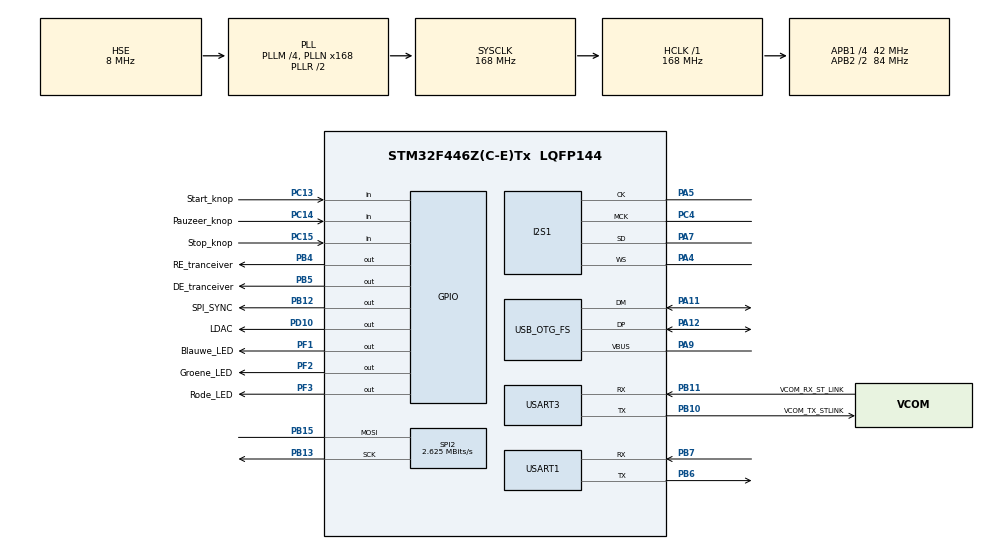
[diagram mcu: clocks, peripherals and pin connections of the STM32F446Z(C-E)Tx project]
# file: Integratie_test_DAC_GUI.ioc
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FREERTOS.Tasks01=defaultTask,24,512,StartDefaultTask,Default,NULL,Dynamic,NULL,NULL;KnopTASK,24,128,StartKnopThread,Default,NULL,Dynamic,NULL,NULL;LedTASK,24,128,StartLEDThread,Default,NULL,Dynamic,NULL,NULL;Dac_TASK,24,128,Simulate_DAC,Default,NULL,Dynamic,NULL,NULL
FREERTOS.configUSE_NEWLIB_REENTRANT=1
I2S1.ErrorAudioFreq=1.72 %
I2S1.FullDuplexMode=I2S_FULLDUPLEXMODE_DISABLE
I2S1.Instance=SPI$Index
I2S1.RealAudioFreq=8.138 KHz
I2S1.VirtualMode=I2S_MODE_MASTER
Mcu.Family=STM32F4
Mcu.Name=STM32F446Z(C-E)Tx
Mcu.Package=LQFP144
NVIC.OTG_FS_IRQn=true\:5\:0\:false\:false\:true\:true\:false\:true\:true
NVIC.PriorityGroup=NVIC_PRIORITYGROUP_4
NVIC.TIM2_IRQn=true\:5\:0\:false\:false\:true\:true\:true\:true\:true
PA11.Mode=Device_Only
PA11.Signal=USB_OTG_FS_DM
PA12.Mode=Device_Only
PA12.Signal=USB_OTG_FS_DP
PA13.Mode=Serial_Wire
PA13.Signal=SYS_JTMS-SWDIO
PA14.Mode=Serial_Wire
PA14.Signal=SYS_JTCK-SWCLK
PA4.Mode=Half_Duplex_Master
PA4.Signal=I2S1_WS
PA5.Mode=Half_Duplex_Master
PA5.Signal=I2S1_CK
PA7.Mode=Half_Duplex_Master
PA7.Signal=I2S1_SD
PA9.Mode=Activate_VBUS
PA9.Signal=USB_OTG_FS_VBUS
PB10.GPIO_Label=VCOM_TX_STLINK
PB10.Mode=Asynchronous
PB10.Signal=USART3_TX
PB11.GPIO_Label=VCOM_RX_ST_LINK
PB11.Mode=Asynchronous
PB11.Signal=USART3_RX
PB12.GPIO_Label=SPI_SYNC
PB12.Signal=GPIO_Output
PB13.Mode=Simplex_Bidirectional_Master
PB13.Signal=SPI2_SCK
PB15.Mode=Simplex_Bidirectional_Master
PB15.Signal=SPI2_MOSI
PB4.GPIO_Label=RE_tranceiver
PB4.Signal=GPIO_Output
PB5.GPIO_Label=DE_tranceiver
PB5.Signal=GPIO_Output
PB6.Mode=Asynchronous
PB6.Signal=USART1_TX
PB7.Mode=Asynchronous
PB7.Signal=USART1_RX
PC13.GPIO_Label=Start_knop
PC13.GPIO_PuPd=GPIO_PULLUP
PC13.Signal=GPIO_Input
PC14-OSC32_IN.GPIO_Label=Pauzeer_knop
PC14-OSC32_IN.GPIO_PuPd=GPIO_PULLUP
PC14-OSC32_IN.Signal=GPIO_Input
PC15-OSC32_OUT.GPIO_Label=Stop_knop
PC15-OSC32_OUT.GPIO_PuPd=GPIO_PULLUP
PC15-OSC32_OUT.Signal=GPIO_Input
PC4.Mode=Master_Clock_Activated
PC4.Signal=I2S1_MCK
PD10.GPIO_Label=LDAC
PD10.Signal=GPIO_Output
PF1.GPIO_Label=Blauwe_LED
PF1.Signal=GPIO_Output
PF2.GPIO_Label=Groene_LED
PF2.Signal=GPIO_Output
PF3.GPIO_Label=Rode_LED
PF3.Signal=GPIO_Output
PH0-OSC_IN.Mode=HSE-External-Oscillator
PH0-OSC_IN.Signal=RCC_OSC_IN
PH1-OSC_OUT.Mode=HSE-External-Oscillator
PH1-OSC_OUT.Signal=RCC_OSC_OUT
ProjectManager.HeapSize=0x200
ProjectManager.StackSize=0x400
ProjectManager.TargetToolchain=STM32CubeIDE
RCC.AHBFreq_Value=168000000
RCC.APB1CLKDivider=RCC_HCLK_DIV4
RCC.APB1Freq_Value=42000000
RCC.APB1TimFreq_Value=84000000
RCC.APB2CLKDivider=RCC_HCLK_DIV2
RCC.APB2Freq_Value=84000000
RCC.APB2TimFreq_Value=168000000
RCC.CortexFreq_Value=168000000
RCC.HCLKFreq_Value=168000000
RCC.HSE_VALUE=8000000
RCC.PLLI2SM=4
RCC.PLLI2SN=50
RCC.PLLM=4
RCC.PLLN=168
RCC.PLLQ=7
RCC.SYSCLKFreq_VALUE=168000000
RCC.SYSCLKSource=RCC_SYSCLKSOURCE_PLLRCLK
RCC.USBFreq_Value=48000000
RCC.VCOOutputFreq_Value=336000000
SPI2.BaudRatePrescaler=SPI_BAUDRATEPRESCALER_16
SPI2.CLKPolarity=SPI_POLARITY_HIGH
SPI2.CalculateBaudRate=2.625 MBits/s
SPI2.Direction=SPI_DIRECTION_1LINE
SPI2.Mode=SPI_MODE_MASTER
SPI2.VirtualType=VM_MASTER
TIM2.Period=1749
USART1.VirtualMode=VM_ASYNC
USART3.VirtualMode=VM_ASYNC
USB_DEVICE.CLASS_NAME_FS=CDC
USB_DEVICE.PRODUCT_STRING_CDC_FS=YOUNES STM32
USB_DEVICE.VirtualMode-CDC_FS=Cdc
USB_DEVICE.VirtualModeFS=Cdc_FS
USB_OTG_FS.VirtualMode=Device_Only
VP_FREERTOS_VS_CMSIS_V2.Mode=CMSIS_V2
VP_TIM2_VS_ClockSourceINT.Mode=Internal
VP_USB_DEVICE_VS_USB_DEVICE_CDC_FS.Mode=CDC_FS
board=custom

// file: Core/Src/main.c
/* USER CODE BEGIN Header */
/**
  ******************************************************************************
  * @file           : main.c
  * @brief          : Main program body
  ******************************************************************************
  * @attention
  *
  * Copyright (c) 2024 STMicroelectronics.
  * All rights reserved.
  *
  * This software is licensed under terms that can be found in the LICENSE file
  * in the root directory of this software component.
  * If no LICENSE file comes with this software, it is provided AS-IS.
  *
  ******************************************************************************
  */
/* USER CODE END Header */
#include "main.h"
#include "cmsis_os.h"
#include "usb_device.h"

/* USER CODE BEGIN Includes */
#include <math.h>
#include <stdint.h>
#include <stdlib.h>
#include <stdio.h>
#include <stdbool.h>
#include <string.h>
#include "stm32f4xx_hal.h"
/* USER CODE END Includes */

/* USER CODE BEGIN PTD */
typedef enum {
	STATUS_IDLE,
    STATUS_WACHTEN_OP_INSTELLINGEN,
    STATUS_GEREED,
    STATUS_TEST_GESTART,
    STATUS_TEST_GEPAUZEERD,
	STATUS_TEST_GESTOPT,
    STATUS_TEST_VOLTOOID
} TestStatus;
/* USER CODE END PTD */

/* USER CODE BEGIN PD */

#define SPI_TIMEOUT 1000
#define DAC8564_SEQUENTIANALY_WRITE_UPDATE 0x10  // Command to write and update DAC
#define VREF 2.5  // Reference voltage

#define OFFSET (VREF / 2)  // Midpoint offset for unipolar output
#define PI 3.14159265
#define SAMPLE_RATE 48000  // Sample rate in Hz
#define FREQUENCY 50  // Frequency of the sine wave in Hz
#define NUM_SAMPLES (SAMPLE_RATE / FREQUENCY)  // Number of samples in one cycle
#define DAC_REFERENCE_ALWAYS_POWERED_UP    0x11000

#define PHASE_SHIFT_120_DEG (2.0 * PI / 3.0)  // 120-degree phase shift
#define PHASE_SHIFT_240_DEG (4.0 * PI / 3.0)

#define BLAUWE_LED_PIN GPIO_PIN_1
#define BLAUWE_LED_PORT GPIOF

#define GROENE_LED_PIN GPIO_PIN_2
#define GROENE_LED_PORT GPIOF

#define RODE_LED_PIN GPIO_PIN_3
#define RODE_LED_PORT GPIOF

#define START_KNOP_PIN GPIO_PIN_13
#define START_KNOP_PORT GPIOC

#define PAUZEER_KNOP_PIN GPIO_PIN_14
#define PAUZEER_KNOP_PORT GPIOC

#define STOP_KNOP_PIN GPIO_PIN_15
#define STOP_KNOP_PORT GPIOC

#define GPIO_PORT_VBUS GPIOA   // De GPIO-poort voor VBUS (bijv. GPIOA)
#define GPIO_PIN_VBUS  GPIO_PIN_9   // De specifieke pin (bijv. pin 9 op GPIOA)

#define BUFFER_SIZE 1024   // Vergroot de buffer naar 512 karakters
#define WAITING_FOR_SETTINGS "WACHT_OP_INSTELLINGEN"
#define READY_STATUS "GEREED"
#define TEST_RUNNING "BEZIG_MET_TEST"
#define TEST_PAUSED "GEPAUZEERD"
#define TEST_COMPLETED "VOLTOOID"
#define TEST_STOPPED "GESTOPT"
/* USER CODE END PD */

I2S_HandleTypeDef hi2s1;

SPI_HandleTypeDef hspi2;

TIM_HandleTypeDef htim2;

UART_HandleTypeDef huart1;
UART_HandleTypeDef huart3;

/* Definitions for defaultTask */
osThreadId_t defaultTaskHandle;
const osThreadAttr_t defaultTask_attributes = {
  .name = "defaultTask",
  .stack_size = 512 * 4,
  .priority = (osPriority_t) osPriorityNormal,
};
/* Definitions for KnopTASK */
osThreadId_t KnopTASKHandle;
const osThreadAttr_t KnopTASK_attributes = {
  .name = "KnopTASK",
  .stack_size = 128 * 4,
  .priority = (osPriority_t) osPriorityNormal,
};
/* Definitions for LedTASK */
osThreadId_t LedTASKHandle;
const osThreadAttr_t LedTASK_attributes = {
  .name = "LedTASK",
  .stack_size = 128 * 4,
  .priority = (osPriority_t) osPriorityNormal,
};
/* Definitions for Dac_TASK */
osThreadId_t Dac_TASKHandle;
const osThreadAttr_t Dac_TASK_attributes = {
  .name = "Dac_TASK",
  .stack_size = 128 * 4,
  .priority = (osPriority_t) osPriorityNormal,
};
/* USER CODE BEGIN PV */
char receivedData[BUFFER_SIZE];  // Buffer to store received data
uint32_t receivedLength = 0;  // Houd de lengte van de ontvangen data bij
float stroom_s1, stroom_s2, stroom_s3;

float AMPLITUDE;

float HARMONIC_3, HARMONIC_5, HARMONIC_7, HARMONIC_9, HARMONIC_11, HARMONIC_13;

uint16_t sine_wave_A[NUM_SAMPLES];
uint16_t sine_wave_B[NUM_SAMPLES];
uint16_t sine_wave_C[NUM_SAMPLES];
volatile uint16_t sample_index = 0;

float stroom_s1 = 0.0;
float stroom_s2 = 0.0;
float stroom_s3 = 0.0;

// Globale variabelen voor THD scenario's
float thd_s1_rms = 0.0, thd_s2_rms = 0.0, thd_s3_rms = 0.0;
int thd_s1_3h, thd_s1_5h, thd_s1_7h, thd_s1_9h, thd_s1_11h, thd_s1_13h;
int thd_s2_3h, thd_s2_5h, thd_s2_7h, thd_s2_9h, thd_s2_11h, thd_s2_13h;
int thd_s3_3h, thd_s3_5h, thd_s3_7h, thd_s3_9h, thd_s3_11h, thd_s3_13h;

TestStatus huidig_status = STATUS_IDLE;
volatile bool usb_busy = false;  // Vlag om aan te geven of USB-communicatie bezig i

/* USER CODE END PV */

void SystemClock_Config(void);
static void MX_GPIO_Init(void);
static void MX_USART1_UART_Init(void);
static void MX_USART3_UART_Init(void);
static void MX_TIM2_Init(void);
static void MX_I2S1_Init(void);
static void MX_SPI2_Init(void);
void StartDefaultTask(void *argument);
void StartKnopThread(void *argument);
void StartLEDThread(void *argument);
void Simulate_DAC(void *argument);

/* USER CODE BEGIN 0 */

/*  Functies DAC */
/* DAC CODE BEGIN*/
void calculate_three_phase_sine_wave_samples() {
    for (int i = 0; i < NUM_SAMPLES; i++) {
    	double t = (double)i / SAMPLE_RATE;

    	        // Phase A with harmonic distortion
    	        double sample_A = AMPLITUDE * sin(2 * PI * FREQUENCY * t);
    	        sample_A += HARMONIC_3 * AMPLITUDE * sin(2 * PI * 3 * FREQUENCY * t);
    	        sample_A += HARMONIC_5 * AMPLITUDE * sin(2 * PI * 5 * FREQUENCY * t);
    	        sample_A += HARMONIC_7 * AMPLITUDE * sin(2 * PI * 7 * FREQUENCY * t);
    	        sample_A += HARMONIC_9 * AMPLITUDE * sin(2 * PI * 9 * FREQUENCY * t);
    	        sample_A += HARMONIC_11 * AMPLITUDE * sin(2 * PI * 11 * FREQUENCY * t);
    	        sample_A += HARMONIC_13 * AMPLITUDE * sin(2 * PI * 13 * FREQUENCY * t);
    	        sine_wave_A[i] = (uint16_t)((65536 / (2 * VREF)) * (sample_A + OFFSET));

    	        // Phase B with harmonic distortion (120 degrees shifted)
    	        double sample_B = AMPLITUDE * sin(2 * PI * FREQUENCY * t + PHASE_SHIFT_120_DEG);
    	        sample_B += HARMONIC_3 * AMPLITUDE * sin(2 * PI * 3 * FREQUENCY * t + PHASE_SHIFT_120_DEG);
    	        sample_B += HARMONIC_5 * AMPLITUDE * sin(2 * PI * 5 * FREQUENCY * t + PHASE_SHIFT_120_DEG);
    	        sample_B += HARMONIC_7 * AMPLITUDE * sin(2 * PI * 7 * FREQUENCY * t + PHASE_SHIFT_120_DEG);
    	        sample_B += HARMONIC_9 * AMPLITUDE * sin(2 * PI * 9 * FREQUENCY * t + PHASE_SHIFT_120_DEG);
    	        sample_B += HARMONIC_11 * AMPLITUDE * sin(2 * PI * 11 * FREQUENCY * t + PHASE_SHIFT_120_DEG);
    	        sample_B += HARMONIC_13 * AMPLITUDE * sin(2 * PI * 13 * FREQUENCY * t + PHASE_SHIFT_120_DEG);
    	        sine_wave_B[i] = (uint16_t)((65536 / (2 * VREF)) * (sample_B + OFFSET));

    	        // Phase C with harmonic distortion (240 degrees shifted)
    	        double sample_C = AMPLITUDE * sin(2 * PI * FREQUENCY * t + PHASE_SHIFT_240_DEG);
    	        sample_C += HARMONIC_3 * AMPLITUDE * sin(2 * PI * 3 * FREQUENCY * t + PHASE_SHIFT_240_DEG);
    	        sample_C += HARMONIC_5 * AMPLITUDE * sin(2 * PI * 5 * FREQUENCY * t + PHASE_SHIFT_240_DEG);
    	        sample_C += HARMONIC_7 * AMPLITUDE * sin(2 * PI * 7 * FREQUENCY * t + PHASE_SHIFT_240_DEG);
    	        sample_C += HARMONIC_9 * AMPLITUDE * sin(2 * PI * 9 * FREQUENCY * t + PHASE_SHIFT_240_DEG);
    	        sample_C += HARMONIC_11 * AMPLITUDE * sin(2 * PI * 11 * FREQUENCY * t + PHASE_SHIFT_240_DEG);
    	        sample_C += HARMONIC_13 * AMPLITUDE * sin(2 * PI * 13 * FREQUENCY * t + PHASE_SHIFT_240_DEG);
    	        sine_wave_C[i] = (uint16_t)((65536 / (2 * VREF)) * (sample_C + OFFSET));
    }
}

void select_test_scenario(int scenario_number) {
    switch (scenario_number) {
        case 1:  // Stroom scenario 1
            AMPLITUDE = stroom_s1 / 10000;  // Stroom gedeeld door 10.000
            HARMONIC_3 = 0; HARMONIC_5 = 0; HARMONIC_7 = 0; HARMONIC_9 = 0;
            HARMONIC_11 = 0; HARMONIC_13 = 0;
            break;
        case 2:  // Stroom scenario 2
            AMPLITUDE = stroom_s2 / 10000;
            HARMONIC_3 = 0; HARMONIC_5 = 0; HARMONIC_7 = 0; HARMONIC_9 = 0;
            HARMONIC_11 = 0; HARMONIC_13 = 0;
            break;
        case 3:  // Stroom scenario 3
            AMPLITUDE = stroom_s3 / 10000;
            HARMONIC_3 = 0; HARMONIC_5 = 0; HARMONIC_7 = 0; HARMONIC_9 = 0;
            HARMONIC_11 = 0; HARMONIC_13 = 0;
            break;
        case 4:  // THD scenario 1
            AMPLITUDE = thd_s1_rms / 10000;  // Grondharmonische amplitude
            HARMONIC_3 = thd_s1_3h / 100.0;  // Percentages omzetten naar amplitudes
            HARMONIC_5 = thd_s1_5h / 100.0;
            HARMONIC_7 = thd_s1_7h / 100.0;
            HARMONIC_9 = thd_s1_9h / 100.0;
            HARMONIC_11 = thd_s1_11h / 100.0;
            HARMONIC_13 = thd_s1_13h / 100.0;
            break;
        case 5:  // THD scenario 2
            AMPLITUDE = thd_s2_rms / 10000;
            HARMONIC_3 = thd_s2_3h / 100.0;
            HARMONIC_5 = thd_s2_5h / 100.0;
            HARMONIC_7 = thd_s2_7h / 100.0;
            HARMONIC_9 = thd_s2_9h / 100.0;
            HARMONIC_11 = thd_s2_11h / 100.0;
            HARMONIC_13 = thd_s2_13h / 100.0;
            break;
        case 6:  // THD scenario 3
            AMPLITUDE = thd_s3_rms / 10000;
            HARMONIC_3 = thd_s3_3h / 100.0;
            HARMONIC_5 = thd_s3_5h / 100.0;
            HARMONIC_7 = thd_s3_7h / 100.0;
            HARMONIC_9 = thd_s3_9h / 100.0;
            HARMONIC_11 = thd_s3_11h / 100.0;
            HARMONIC_13 = thd_s3_13h / 100.0;
            break;
    }
    calculate_three_phase_sine_wave_samples();
}

void DAC8564_Write(uint16_t channel, uint16_t value) {
    uint8_t data[3];
    data[0] = DAC8564_SEQUENTIANALY_WRITE_UPDATE | (channel << 1);  // Set command and channel
    data[1] = (value >> 8) & 0xFF;  // MSB
    data[2] = value & 0xFF;  // LSB

    HAL_GPIO_WritePin(GPIOB, SPI_SYNC_Pin, GPIO_PIN_RESET);  // CS Low
    HAL_SPI_Transmit(&hspi2, data, 3, SPI_TIMEOUT);
    HAL_GPIO_WritePin(GPIOB, SPI_SYNC_Pin, GPIO_PIN_SET);  // CS High
}

void HAL_TIM_PeriodElapsedCallback(TIM_HandleTypeDef *htim) {
    if (htim->Instance == TIM2) {
        // Output the current sample for each phase to respective DAC channels
        DAC8564_Write(0, sine_wave_A[sample_index]);  // Phase A on DAC A
        DAC8564_Write(1, sine_wave_B[sample_index]);  // Phase B on DAC B
        DAC8564_Write(2, sine_wave_C[sample_index]);  // Phase C on DAC C

        // Increment the sample index
        sample_index = (sample_index + 1) % NUM_SAMPLES;
    }
}

void SET_refference() {
    uint8_t data[3];
    data[0] = 0x01;
    data[1] = 0x10;
    data[2] = 0x00;

    HAL_GPIO_WritePin(GPIOB, SPI_SYNC_Pin, GPIO_PIN_RESET);
    HAL_SPI_Transmit(&hspi2, data, 3, SPI_TIMEOUT);
    HAL_GPIO_WritePin(GPIOB, SPI_SYNC_Pin, GPIO_PIN_SET);
}

/* DAC CODE END*/

/*  Functies voor user interface */
/* Userinterface CODE BEGIN*/
void zet_blauw_licht_aan() {
    HAL_GPIO_WritePin(BLAUWE_LED_PORT, BLAUWE_LED_PIN, GPIO_PIN_SET);
    HAL_GPIO_WritePin(GROENE_LED_PORT, GROENE_LED_PIN, GPIO_PIN_RESET);
    HAL_GPIO_WritePin(RODE_LED_PORT, RODE_LED_PIN, GPIO_PIN_RESET);
}

void zet_groen_licht_aan() {
    HAL_GPIO_WritePin(BLAUWE_LED_PORT, BLAUWE_LED_PIN, GPIO_PIN_RESET);
    HAL_GPIO_WritePin(GROENE_LED_PORT, GROENE_LED_PIN, GPIO_PIN_SET);
    HAL_GPIO_WritePin(RODE_LED_PORT, RODE_LED_PIN, GPIO_PIN_RESET);
}

void zet_rood_licht_aan() {
    HAL_GPIO_WritePin(BLAUWE_LED_PORT, BLAUWE_LED_PIN, GPIO_PIN_RESET);
    HAL_GPIO_WritePin(GROENE_LED_PORT, GROENE_LED_PIN, GPIO_PIN_RESET);
    HAL_GPIO_WritePin(RODE_LED_PORT, RODE_LED_PIN, GPIO_PIN_SET);
}

void groen_knipperend() {
	HAL_GPIO_WritePin(BLAUWE_LED_PORT, BLAUWE_LED_PIN, GPIO_PIN_RESET);
	HAL_GPIO_WritePin(RODE_LED_PORT, RODE_LED_PIN, GPIO_PIN_RESET);
	HAL_GPIO_TogglePin(GROENE_LED_PORT, GROENE_LED_PIN);

}

void blauw_knipperend() {
    HAL_GPIO_WritePin(GROENE_LED_PORT, GROENE_LED_PIN, GPIO_PIN_RESET);
    HAL_GPIO_WritePin(RODE_LED_PORT, RODE_LED_PIN, GPIO_PIN_RESET);
    HAL_GPIO_TogglePin(BLAUWE_LED_PORT, BLAUWE_LED_PIN);
}

void update_status(TestStatus nieuwe_status) {
    huidig_status = nieuwe_status;
}

/* Userinterface CODE END*/

/* USB_GUI_ CODE BEGIN*/
void send_active_scenario_to_gui(int scenario_number) {
    char scenario_message[64];
    sprintf(scenario_message, "ACTIEF_SCENARIO=%d\n", scenario_number);
    send_status_to_gui(scenario_message);  // Verstuur het scenario

}

void send_status_to_gui(char* status_message) {
    CDC_Transmit_FS((uint8_t *)status_message, strlen(status_message));
}

// Functie om te checken of de knoppen voor starten, pauzeren of stoppen zijn ingedrukt

// Simuleer de ontvangst van instellingen en stuur statusupdates naar de GUI
void receive_settings_and_update_status(void) {
    // Wachten op instellingen
	update_status (STATUS_WACHTEN_OP_INSTELLINGEN);

}

// Functie om de volledige testprocedure te beheren

void CheckReceivedData(void)
{
  // Simuleer het ontvangen van data (normaliter via USB/UART)
  if (receivedLength > 0) {
    parse_received_data(receivedData);  // Verwerk de ontvangen gegevens
    memset(receivedData, 0, BUFFER_SIZE);  // Clear de buffer na verwerking
    receivedLength = 0;
  }
}

// Functie om de ontvangen data te parsen
void parse_received_data(char* data)
{
    // Verwacht dataformaat: "STROOM_S1=100.000;STROOM_S2=200.000;THD_S1_RMS=50.000;..."
    // Verwacht dataformaat:
    // "STROOM_S1=100.000;STROOM_S2=200.000;STROOM_S3=300.000;THD_S1_RMS=50.000;THD_S1_3H=15;...THD_S3_13H=10;"

    sscanf(data,
           "STROOM_S1=%f;STROOM_S2=%f;STROOM_S3=%f;THD_S1_RMS=%f;THD_S1_3H=%d;THD_S1_5H=%d;"
           "THD_S1_7H=%d;THD_S1_9H=%d;THD_S1_11H=%d;THD_S1_13H=%d;"
           "THD_S2_RMS=%f;THD_S2_3H=%d;THD_S2_5H=%d;THD_S2_7H=%d;THD_S2_9H=%d;THD_S2_11H=%d;THD_S2_13H=%d;"
           "THD_S3_RMS=%f;THD_S3_3H=%d;THD_S3_5H=%d;THD_S3_7H=%d;THD_S3_9H=%d;THD_S3_11H=%d;THD_S3_13H=%d;",
           &stroom_s1, &stroom_s2, &stroom_s3,
           &thd_s1_rms, &thd_s1_3h, &thd_s1_5h, &thd_s1_7h, &thd_s1_9h, &thd_s1_11h, &thd_s1_13h,
           &thd_s2_rms, &thd_s2_3h, &thd_s2_5h, &thd_s2_7h, &thd_s2_9h, &thd_s2_11h, &thd_s2_13h,
           &thd_s3_rms, &thd_s3_3h, &thd_s3_5h, &thd_s3_7h, &thd_s3_9h, &thd_s3_11h, &thd_s3_13h);

    update_status(STATUS_GEREED);

}
/* USB_GUI_ CODE END*/
/* USER CODE END 0 */

int main(void)
{

  /* MCU Configuration--------------------------------------------------------*/

  /* Reset of all peripherals, Initializes the Flash interface and the Systick. */
  HAL_Init();

  /* Configure the system clock */
  SystemClock_Config();

  /* Initialize all configured peripherals */
  MX_GPIO_Init();
  MX_USART1_UART_Init();
  MX_USART3_UART_Init();
  MX_TIM2_Init();
  MX_I2S1_Init();
  MX_SPI2_Init();
  MX_USB_DEVICE_Init();
  /* USER CODE BEGIN 2 */

  while (!(HAL_GPIO_ReadPin(GPIO_PORT_VBUS, GPIO_PIN_VBUS) == GPIO_PIN_SET));
  receive_settings_and_update_status();
  HAL_Delay (3000);

  /* USER CODE END 2 */

  /* Init scheduler */
  osKernelInitialize();

  /* Create the thread(s) */
  /* creation of defaultTask */
  defaultTaskHandle = osThreadNew(StartDefaultTask, NULL, &defaultTask_attributes);

  /* creation of KnopTASK */
  KnopTASKHandle = osThreadNew(StartKnopThread, NULL, &KnopTASK_attributes);

  /* creation of LedTASK */
  LedTASKHandle = osThreadNew(StartLEDThread, NULL, &LedTASK_attributes);

  /* creation of Dac_TASK */
  Dac_TASKHandle = osThreadNew(Simulate_DAC, NULL, &Dac_TASK_attributes);

  /* Start scheduler */
  osKernelStart();
  /* We should never get here as control is now taken by the scheduler */
  /* Infinite loop */
  while (1)
  {

  }
}

void SystemClock_Config(void)
{
  RCC_OscInitTypeDef RCC_OscInitStruct = {0};
  RCC_ClkInitTypeDef RCC_ClkInitStruct = {0};

  /** Configure the main internal regulator output voltage
  */
  __HAL_RCC_PWR_CLK_ENABLE();
  __HAL_PWR_VOLTAGESCALING_CONFIG(PWR_REGULATOR_VOLTAGE_SCALE1);

  /** Initializes the RCC Oscillators according to the specified parameters
  * in the RCC_OscInitTypeDef structure.
  */
  RCC_OscInitStruct.OscillatorType = RCC_OSCILLATORTYPE_HSE;
  RCC_OscInitStruct.HSEState = RCC_HSE_ON;
  RCC_OscInitStruct.PLL.PLLState = RCC_PLL_ON;
  RCC_OscInitStruct.PLL.PLLSource = RCC_PLLSOURCE_HSE;
  RCC_OscInitStruct.PLL.PLLM = 4;
  RCC_OscInitStruct.PLL.PLLN = 168;
  RCC_OscInitStruct.PLL.PLLP = RCC_PLLP_DIV2;
  RCC_OscInitStruct.PLL.PLLQ = 7;
  RCC_OscInitStruct.PLL.PLLR = 2;
  if (HAL_RCC_OscConfig(&RCC_OscInitStruct) != HAL_OK)
  {
    Error_Handler();
  }

  /** Initializes the CPU, AHB and APB buses clocks
  */
  RCC_ClkInitStruct.ClockType = RCC_CLOCKTYPE_HCLK|RCC_CLOCKTYPE_SYSCLK
                              |RCC_CLOCKTYPE_PCLK1|RCC_CLOCKTYPE_PCLK2;
  RCC_ClkInitStruct.SYSCLKSource = RCC_SYSCLKSOURCE_PLLRCLK;
  RCC_ClkInitStruct.AHBCLKDivider = RCC_SYSCLK_DIV1;
  RCC_ClkInitStruct.APB1CLKDivider = RCC_HCLK_DIV4;
  RCC_ClkInitStruct.APB2CLKDivider = RCC_HCLK_DIV2;

  if (HAL_RCC_ClockConfig(&RCC_ClkInitStruct, FLASH_LATENCY_5) != HAL_OK)
  {
    Error_Handler();
  }
}

static void MX_I2S1_Init(void)
{

  hi2s1.Instance = SPI1;
  hi2s1.Init.Mode = I2S_MODE_MASTER_TX;
  hi2s1.Init.Standard = I2S_STANDARD_PHILIPS;
  hi2s1.Init.DataFormat = I2S_DATAFORMAT_16B;
  hi2s1.Init.MCLKOutput = I2S_MCLKOUTPUT_ENABLE;
  hi2s1.Init.AudioFreq = I2S_AUDIOFREQ_8K;
  hi2s1.Init.CPOL = I2S_CPOL_LOW;
  hi2s1.Init.ClockSource = I2S_CLOCK_PLL;
  hi2s1.Init.FullDuplexMode = I2S_FULLDUPLEXMODE_DISABLE;
  if (HAL_I2S_Init(&hi2s1) != HAL_OK)
  {
    Error_Handler();
  }

}

static void MX_SPI2_Init(void)
{

  /* SPI2 parameter configuration*/
  hspi2.Instance = SPI2;
  hspi2.Init.Mode = SPI_MODE_MASTER;
  hspi2.Init.Direction = SPI_DIRECTION_1LINE;
  hspi2.Init.DataSize = SPI_DATASIZE_8BIT;
  hspi2.Init.CLKPolarity = SPI_POLARITY_HIGH;
  hspi2.Init.CLKPhase = SPI_PHASE_1EDGE;
  hspi2.Init.NSS = SPI_NSS_SOFT;
  hspi2.Init.BaudRatePrescaler = SPI_BAUDRATEPRESCALER_16;
  hspi2.Init.FirstBit = SPI_FIRSTBIT_MSB;
  hspi2.Init.TIMode = SPI_TIMODE_DISABLE;
  hspi2.Init.CRCCalculation = SPI_CRCCALCULATION_DISABLE;
  hspi2.Init.CRCPolynomial = 10;
  if (HAL_SPI_Init(&hspi2) != HAL_OK)
  {
    Error_Handler();
  }

}

static void MX_TIM2_Init(void)
{

  TIM_ClockConfigTypeDef sClockSourceConfig = {0};
  TIM_MasterConfigTypeDef sMasterConfig = {0};

  htim2.Instance = TIM2;
  htim2.Init.Prescaler = 0;
  htim2.Init.CounterMode = TIM_COUNTERMODE_UP;
  htim2.Init.Period = 1749;
  htim2.Init.ClockDivision = TIM_CLOCKDIVISION_DIV1;
  htim2.Init.AutoReloadPreload = TIM_AUTORELOAD_PRELOAD_DISABLE;
  if (HAL_TIM_Base_Init(&htim2) != HAL_OK)
  {
    Error_Handler();
  }
  sClockSourceConfig.ClockSource = TIM_CLOCKSOURCE_INTERNAL;
  if (HAL_TIM_ConfigClockSource(&htim2, &sClockSourceConfig) != HAL_OK)
  {
    Error_Handler();
  }
  sMasterConfig.MasterOutputTrigger = TIM_TRGO_RESET;
  sMasterConfig.MasterSlaveMode = TIM_MASTERSLAVEMODE_DISABLE;
  if (HAL_TIMEx_MasterConfigSynchronization(&htim2, &sMasterConfig) != HAL_OK)
  {
    Error_Handler();
  }

}

static void MX_USART1_UART_Init(void)
{

  huart1.Instance = USART1;
  huart1.Init.BaudRate = 115200;
  huart1.Init.WordLength = UART_WORDLENGTH_8B;
  huart1.Init.StopBits = UART_STOPBITS_1;
  huart1.Init.Parity = UART_PARITY_NONE;
  huart1.Init.Mode = UART_MODE_TX_RX;
  huart1.Init.HwFlowCtl = UART_HWCONTROL_NONE;
  huart1.Init.OverSampling = UART_OVERSAMPLING_16;
  if (HAL_UART_Init(&huart1) != HAL_OK)
  {
    Error_Handler();
  }

}

static void MX_USART3_UART_Init(void)
{

  huart3.Instance = USART3;
  huart3.Init.BaudRate = 115200;
  huart3.Init.WordLength = UART_WORDLENGTH_8B;
  huart3.Init.StopBits = UART_STOPBITS_1;
  huart3.Init.Parity = UART_PARITY_NONE;
  huart3.Init.Mode = UART_MODE_TX_RX;
  huart3.Init.HwFlowCtl = UART_HWCONTROL_NONE;
  huart3.Init.OverSampling = UART_OVERSAMPLING_16;
  if (HAL_UART_Init(&huart3) != HAL_OK)
  {
    Error_Handler();
  }

}

static void MX_GPIO_Init(void)
{
  GPIO_InitTypeDef GPIO_InitStruct = {0};

  /* GPIO Ports Clock Enable */
  __HAL_RCC_GPIOC_CLK_ENABLE();
  __HAL_RCC_GPIOF_CLK_ENABLE();
  __HAL_RCC_GPIOH_CLK_ENABLE();
  __HAL_RCC_GPIOA_CLK_ENABLE();
  __HAL_RCC_GPIOB_CLK_ENABLE();
  __HAL_RCC_GPIOD_CLK_ENABLE();

  /*Configure GPIO pin Output Level */
  HAL_GPIO_WritePin(GPIOF, Blauwe_LED_Pin|Groene_LED_Pin|Rode_LED_Pin, GPIO_PIN_RESET);

  /*Configure GPIO pin Output Level */
  HAL_GPIO_WritePin(GPIOB, SPI_SYNC_Pin|RE_tranceiver_Pin|DE_tranceiver_Pin, GPIO_PIN_RESET);

  /*Configure GPIO pin Output Level */
  HAL_GPIO_WritePin(LDAC_GPIO_Port, LDAC_Pin, GPIO_PIN_RESET);

  /*Configure GPIO pins : Start_knop_Pin Pauzeer_knop_Pin Stop_knop_Pin */
  GPIO_InitStruct.Pin = Start_knop_Pin|Pauzeer_knop_Pin|Stop_knop_Pin;
  GPIO_InitStruct.Mode = GPIO_MODE_INPUT;
  GPIO_InitStruct.Pull = GPIO_PULLUP;
  HAL_GPIO_Init(GPIOC, &GPIO_InitStruct);

  /*Configure GPIO pins : Blauwe_LED_Pin Groene_LED_Pin Rode_LED_Pin */
  GPIO_InitStruct.Pin = Blauwe_LED_Pin|Groene_LED_Pin|Rode_LED_Pin;
  GPIO_InitStruct.Mode = GPIO_MODE_OUTPUT_PP;
  GPIO_InitStruct.Pull = GPIO_NOPULL;
  GPIO_InitStruct.Speed = GPIO_SPEED_FREQ_LOW;
  HAL_GPIO_Init(GPIOF, &GPIO_InitStruct);

  /*Configure GPIO pins : SPI_SYNC_Pin RE_tranceiver_Pin DE_tranceiver_Pin */
  GPIO_InitStruct.Pin = SPI_SYNC_Pin|RE_tranceiver_Pin|DE_tranceiver_Pin;
  GPIO_InitStruct.Mode = GPIO_MODE_OUTPUT_PP;
  GPIO_InitStruct.Pull = GPIO_NOPULL;
  GPIO_InitStruct.Speed = GPIO_SPEED_FREQ_LOW;
  HAL_GPIO_Init(GPIOB, &GPIO_InitStruct);

  /*Configure GPIO pin : LDAC_Pin */
  GPIO_InitStruct.Pin = LDAC_Pin;
  GPIO_InitStruct.Mode = GPIO_MODE_OUTPUT_PP;
  GPIO_InitStruct.Pull = GPIO_NOPULL;
  GPIO_InitStruct.Speed = GPIO_SPEED_FREQ_LOW;
  HAL_GPIO_Init(LDAC_GPIO_Port, &GPIO_InitStruct);

}

void StartDefaultTask(void *argument)
{
  /* init code for USB_DEVICE */

  /* USER CODE BEGIN 5 */
  /* Infinite loop */
  for(;;)
  {
    osDelay(1000);
  }
  /* USER CODE END 5 */
}

void StartKnopThread(void *argument)
{
  for(;;)
  {
    osDelay(1);
  }
}

void StartLEDThread(void *argument)
{
  for(;;)
  {
    osDelay(1);
  }
}

void Simulate_DAC(void *argument)
{
  /* USER CODE BEGIN Simulate_DAC */
	int scenario=1;
  /* Infinite loop */

     for(;;)
	  {

		    while ((huidig_status == STATUS_TEST_GESTART && usb_busy == false)  || huidig_status == STATUS_TEST_GEPAUZEERD) {
				   // Deze Delay is noodzakkelijk anders voert hij de send_status_to_gui(TEST_RUNNING);niet uit in de status thread.
		    	   osDelay(10);

				  // Stuur het actieve scenario naar de GUI
					usb_busy = true;
					send_active_scenario_to_gui(scenario);
					usb_busy = false;
					// Zet de vlag weer op false zodat andere threads de USB kunnen gebruiken

				  // Simuleer een vertraging tijdens het draaien van dit scenario
				  for (int i = 0; i < 5000; i++) { // Delay van 5 seconden
				   // Controleer tijdens de delay of de test gepauzeerd is
						if (huidig_status == STATUS_TEST_GEPAUZEERD) {
						  // Als de test gepauzeerd is, blijf in deze lus totdat de status verandert
							  while (huidig_status == STATUS_TEST_GEPAUZEERD) {
								osDelay(1); // Wacht kleine intervallen en check status continu
							  }
						}
						osDelay(1);  // Dit vervangt de HAL_Delay met osDelay
				  }

				  // Verhoog het scenario
				  scenario++;
				  if (scenario > 6) {
					// Als alle scenario's zijn afgerond, stel de status in op voltooid
					huidig_status = STATUS_TEST_VOLTOOID;
					scenario = 1;
					break;  // Breek de while-loop
				  }

			    // Eindig met het versturen van de voltooid-status

		    }

		// Kleine vertraging om CPU te besparen
		osDelay(1);
	  }
  /* USER CODE END Simulate_DAC */
}

void Error_Handler(void)
{
  __disable_irq();
  while (1)
  {
  }
}
